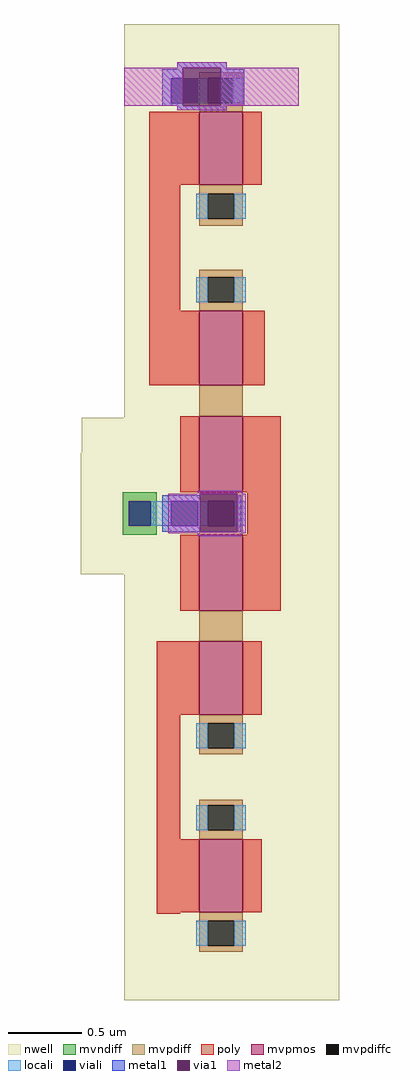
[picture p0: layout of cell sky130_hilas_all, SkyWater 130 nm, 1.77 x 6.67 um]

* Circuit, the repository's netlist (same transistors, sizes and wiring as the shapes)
* Copyright 2020 The Hilas PDK Authors
* 
* This file is part of HILAS.
* 
* HILAS is free software: you can redistribute it and/or modify
* it under the terms of the GNU Lesser General Public License as published by
* the Free Software Foundation, version 3 of the License.
* 
* HILAS is distributed in the hope that it will be useful,
* but WITHOUT ANY WARRANTY; without even the implied warranty of
* MERCHANTABILITY or FITNESS FOR A PARTICULAR PURPOSE.  See the
* GNU Lesser General Public License for more details.
* 
* You should have received a copy of the GNU Lesser General Public License
* along with HILAS.  If not, see <https://www.gnu.org/licenses/>.
* 
* Licensed under the Lesser General Public License, Version 3.0 (the "License");
* you may not use this file except in compliance with the License.
* You may obtain a copy of the License at
* 
* https://www.gnu.org/licenses/lgpl-3.0.en.html
* 
* Unless required by applicable law or agreed to in writing, software
* distributed under the License is distributed on an "AS IS" BASIS,
* WITHOUT WARRANTIES OR CONDITIONS OF ANY KIND, either express or implied.
* See the License for the specific language governing permissions and
* limitations under the License.
* 
* SPDX-License-Identifier: LGPL-3.0
* 
* 

* NGSPICE file created from sky130_hilas_all.ext - technology: sky130A


* Top level circuit sky130_hilas_all

X0 a_n1042_n392# a_n1100_n764# a_n1042_n546# w_n1204_n300# sky130_fd_pr__pfet_g5v0d10v5 w=300000u l=500000u
X1 a_n1042_n662# a_n1100_n764# a_n1042_n816# w_n1204_n300# sky130_fd_pr__pfet_g5v0d10v5 w=300000u l=500000u
X2 a_n1042_60# a_n1110_n42# a_n1042_n84# w_n1204_n300# sky130_fd_pr__pfet_g5v0d10v5 w=300000u l=510000u
X3 a_n1042_n84# a_n1068_n350# a_n1042_n246# w_n1204_n300# sky130_fd_pr__pfet_g5v0d10v5 w=300000u l=520000u
X4 a_n1042_n246# a_n1068_n350# a_n1042_n392# w_n1204_n300# sky130_fd_pr__pfet_g5v0d10v5 w=300000u l=520000u
X5 a_n1042_332# a_n1110_n42# a_n1042_176# w_n1204_n300# sky130_fd_pr__pfet_g5v0d10v5 w=300000u l=500000u
.end

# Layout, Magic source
magic
tech sky130A
<< nwell >>
rect 30 398 177 667
rect 1 374 177 398
rect 0 291 177 374
rect 30 0 177 291
<< mvpmos >>
rect 81 557 111 607
rect 81 420 111 471
rect 81 347 111 399
rect 81 266 111 318
rect 81 195 111 245
rect 81 60 111 110
<< mvndiff >>
rect 29 318 52 347
<< mvpdiff >>
rect 81 630 111 634
rect 81 613 87 630
rect 104 613 111 630
rect 81 607 111 613
rect 81 551 111 557
rect 81 534 87 551
rect 105 534 111 551
rect 81 529 111 534
rect 81 494 111 499
rect 81 477 87 494
rect 105 477 111 494
rect 81 471 111 477
rect 81 399 111 420
rect 81 341 111 347
rect 81 324 87 341
rect 105 324 111 341
rect 81 318 111 324
rect 81 245 111 266
rect 81 189 111 195
rect 81 172 87 189
rect 105 172 111 189
rect 81 168 111 172
rect 81 133 111 137
rect 81 116 87 133
rect 105 116 111 133
rect 81 110 111 116
rect 81 54 111 60
rect 81 37 87 54
rect 105 37 111 54
rect 81 33 111 37
<< mvpdiffc >>
rect 87 613 104 630
rect 87 534 105 551
rect 87 477 105 494
rect 87 324 105 341
rect 87 172 105 189
rect 87 116 105 133
rect 87 37 105 54
<< poly >>
rect 47 557 81 607
rect 111 557 124 607
rect 47 471 68 557
rect 47 420 81 471
rect 111 420 126 471
rect 68 347 81 399
rect 111 347 137 399
rect 114 318 137 347
rect 68 266 81 318
rect 111 266 137 318
rect 52 195 81 245
rect 111 195 124 245
rect 52 110 68 195
rect 52 60 81 110
rect 111 60 124 110
rect 52 59 68 60
<< locali >>
rect 80 613 87 630
rect 104 613 112 630
rect 79 534 87 551
rect 105 534 113 551
rect 79 477 87 494
rect 105 477 113 494
rect 48 324 62 341
rect 80 324 87 341
rect 105 324 113 341
rect 79 172 87 189
rect 105 172 113 189
rect 79 116 87 133
rect 105 116 113 133
rect 79 37 87 54
rect 105 37 113 54
<< viali >>
rect 62 613 80 630
rect 33 324 48 341
rect 62 324 80 341
<< metal1 >>
rect 66 637 100 641
rect 66 636 70 637
rect 56 630 70 636
rect 96 636 100 637
rect 56 613 62 630
rect 56 611 70 613
rect 96 611 112 636
rect 66 608 100 611
rect 56 341 82 345
rect 56 324 62 341
rect 80 324 82 341
rect 56 320 82 324
rect 107 320 110 345
<< via1 >>
rect 70 630 96 637
rect 70 613 80 630
rect 80 613 96 630
rect 70 611 96 613
rect 82 320 107 346
<< metal2 >>
rect 66 637 100 641
rect 30 611 70 637
rect 96 611 149 637
rect 66 608 100 611
rect 80 347 110 348
rect 80 346 111 347
rect 60 320 82 346
rect 107 320 113 346
rect 60 319 113 320
rect 80 317 110 319
<< properties >>
string LEFsite unithd
string LEFclass CORE
string LEFsymmetry X Y R90
<< end >>
